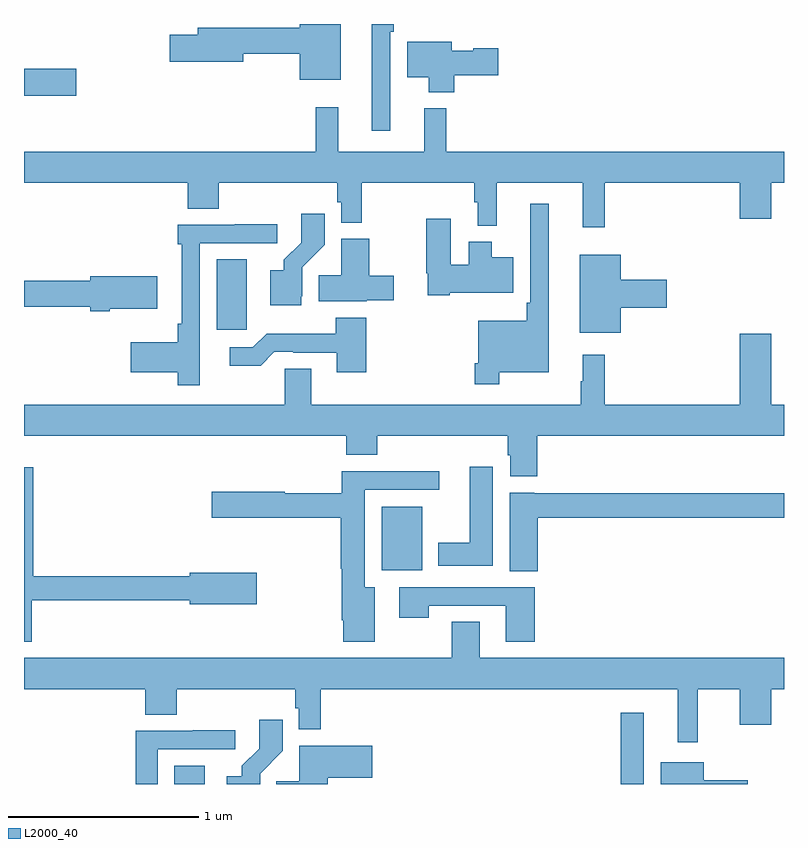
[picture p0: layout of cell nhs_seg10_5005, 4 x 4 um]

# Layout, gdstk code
import gdstk
lib = gdstk.Library(unit=1e-6, precision=1e-09)
def R(c, l, rs):  # rectangles x0, y0, x1, y1
    for r in rs: c.add(gdstk.rectangle(r[:2], r[2:], *l))
def P(c, l, *ps):  # polygons
    for p in ps: c.add(gdstk.Polygon(p, *l))
L2000_40 = (2000, 40)

nhs_seg10_5005 = lib.new_cell('nhs_seg10_5005')
R(nhs_seg10_5005, L2000_40, [(401.792,1282.5,401.95,1282.597), (404.142,1282.5,404.263,1282.876), (402.884,1283.624,403.096,1283.959), (402.014,1284.891,402.172,1285.261), (401,1286.122,401.275,1286.264)])
P(nhs_seg10_5005, L2000_40, [(402.927,1286.459),(402.947,1286.459),(402.947,1286.5),(402.83,1286.5),(402.83,1285.938),(402.927,1285.938)],
  [(402.667,1286.5),(402.452,1286.5),(402.452,1286.48),(401.915,1286.48),(401.915,1286.444),(401.766,1286.444),(401.766,1286.302),(402.154,1286.302),(402.154,1286.344),(402.452,1286.344),(402.452,1286.207),(402.667,1286.207)],
  [(403.265,1286.23),(403.495,1286.23),(403.495,1286.372),(403.365,1286.372),(403.365,1286.359),(403.252,1286.359),(403.252,1286.407),(403.016,1286.407),(403.016,1286.219),(403.13,1286.219),(403.13,1286.141),(403.265,1286.141)],
  [(404.057,1285.664),(404.768,1285.664),(404.768,1285.476),(404.932,1285.476),(404.932,1285.664),(405,1285.664),(405,1285.828),(403.223,1285.828),(403.223,1286.056),(403.106,1286.056),(403.106,1285.828),(402.653,1285.828),(402.653,1286.062),(402.535,1286.062),(402.535,1285.828),(401,1285.828),(401,1285.664),(401.861,1285.664),(401.861,1285.528),(402.026,1285.528),(402.026,1285.664),(402.649,1285.664),(402.649,1285.563),(402.669,1285.563),(402.669,1285.454),(402.778,1285.454),(402.778,1285.664),(403.369,1285.664),(403.369,1285.561),(403.388,1285.561),(403.388,1285.439),(403.487,1285.439),(403.487,1285.664),(403.94,1285.664),(403.94,1285.431),(404.057,1285.431)],
  [(403.501,1284.668),(403.762,1284.668),(403.762,1285.555),(403.665,1285.555),(403.665,1285.033),(403.645,1285.033),(403.645,1284.937),(403.392,1284.937),(403.392,1284.715),(403.372,1284.715),(403.372,1284.603),(403.501,1284.603)],
  [(402.46,1285.068),(402.465,1285.068),(402.465,1285.219),(402.584,1285.338),(402.584,1285.501),(402.459,1285.501),(402.459,1285.349),(402.368,1285.259),(402.368,1285.204),(402.296,1285.204),(402.296,1285.019),(402.46,1285.019)],
  [(403.242,1285.085),(403.576,1285.085),(403.576,1285.273),(403.462,1285.273),(403.462,1285.354),(403.34,1285.354),(403.34,1285.233),(403.246,1285.233),(403.246,1285.474),(403.117,1285.474),(403.117,1285.189),(403.124,1285.189),(403.124,1285.073),(403.242,1285.073)],
  [(401.926,1284.822),(401.925,1284.822),(401.925,1285.347),(402.334,1285.347),(402.334,1285.446),(402.109,1285.446),(402.109,1285.443),(401.809,1285.443),(401.809,1285.34),(401.829,1285.34),(401.829,1284.922),(401.809,1284.922),(401.809,1284.826),(401.562,1284.826),(401.562,1284.668),(401.809,1284.668),(401.809,1284.6),(401.926,1284.6)],
  [(402.804,1285.046),(402.946,1285.046),(402.946,1285.176),(402.816,1285.176),(402.816,1285.369),(402.671,1285.369),(402.671,1285.178),(402.55,1285.178),(402.55,1285.04),(402.804,1285.04)],
  [(404.14,1285.007),(404.383,1285.007),(404.383,1285.154),(404.14,1285.154),(404.14,1285.285),(403.925,1285.285),(403.925,1284.875),(404.14,1284.875)],
  [(401.452,1285.001),(401.701,1285.001),(401.701,1285.172),(401.348,1285.172),(401.348,1285.148),(401,1285.148),(401,1285.012),(401.348,1285.012),(401.348,1284.989),(401.452,1284.989)],
  [(402.8,1284.955),(402.64,1284.955),(402.64,1284.871),(402.277,1284.871),(402.204,1284.798),(402.084,1284.798),(402.084,1284.701),(402.245,1284.701),(402.318,1284.774),(402.418,1284.774),(402.418,1284.771),(402.647,1284.771),(402.647,1284.666),(402.8,1284.666)],
  [(403.7,1284.332),(405,1284.332),(405,1284.496),(404.932,1284.496),(404.932,1284.871),(404.768,1284.871),(404.768,1284.496),(404.057,1284.496),(404.057,1284.76),(403.94,1284.76),(403.94,1284.62),(403.929,1284.62),(403.929,1284.496),(402.511,1284.496),(402.511,1284.686),(402.372,1284.686),(402.372,1284.496),(401,1284.496),(401,1284.332),(402.695,1284.332),(402.695,1284.233),(402.86,1284.233),(402.86,1284.332),(403.547,1284.332),(403.547,1284.231),(403.559,1284.231),(403.559,1284.119),(403.7,1284.119)],
  [(403.468,1284.169),(403.346,1284.169),(403.346,1283.77),(403.181,1283.77),(403.181,1283.648),(403.468,1283.648)],
  [(401.042,1283.466),(401.873,1283.466),(401.873,1283.447),(402.226,1283.447),(402.226,1283.613),(401.873,1283.613),(401.873,1283.594),(401.048,1283.594),(401.048,1284.166),(401,1284.166),(401,1283.25),(401.042,1283.25)],
  [(402.847,1283.536),(402.793,1283.536),(402.793,1284.048),(403.186,1284.048),(403.186,1284.146),(402.673,1284.146),(402.673,1284.031),(402.372,1284.031),(402.372,1284.039),(401.988,1284.039),(401.988,1283.902),(402.668,1283.902),(402.668,1283.632),(402.673,1283.632),(402.673,1283.362),(402.68,1283.362),(402.68,1283.25),(402.847,1283.25)],
  [(403.703,1283.902),(405,1283.902),(405,1284.031),(403.686,1284.031),(403.686,1284.034),(403.556,1284.034),(403.556,1283.62),(403.703,1283.62)],
  [(403.688,1283.535),(402.975,1283.535),(402.975,1283.376),(403.131,1283.376),(403.131,1283.439),(403.535,1283.439),(403.535,1283.25),(403.688,1283.25)],
  [(404.545,1283),(404.768,1283),(404.768,1282.812),(404.932,1282.812),(404.932,1283),(405,1283),(405,1283.164),(403.399,1283.164),(403.399,1283.354),(403.252,1283.354),(403.252,1283.164),(401,1283.164),(401,1283),(401.639,1283),(401.639,1282.864),(401.804,1282.864),(401.804,1283),(402.427,1283),(402.427,1282.899),(402.447,1282.899),(402.447,1282.787),(402.563,1282.787),(402.563,1283),(404.441,1283),(404.441,1282.719),(404.545,1282.719)],
  [(402.243,1282.555),(402.362,1282.674),(402.362,1282.837),(402.237,1282.837),(402.237,1282.685),(402.146,1282.595),(402.146,1282.54),(402.066,1282.54),(402.066,1282.5),(402.243,1282.5)],
  [(401.703,1282.683),(402.112,1282.683),(402.112,1282.782),(401.887,1282.782),(401.887,1282.779),(401.587,1282.779),(401.587,1282.5),(401.703,1282.5)],
  [(402.599,1282.532),(402.832,1282.532),(402.832,1282.702),(402.449,1282.702),(402.449,1282.514),(402.328,1282.514),(402.328,1282.5),(402.599,1282.5)],
  [(404.809,1282.519),(404.578,1282.519),(404.578,1282.615),(404.351,1282.615),(404.351,1282.5),(404.809,1282.5)])

lib.write_gds('nhs_seg10_5005.gds')
